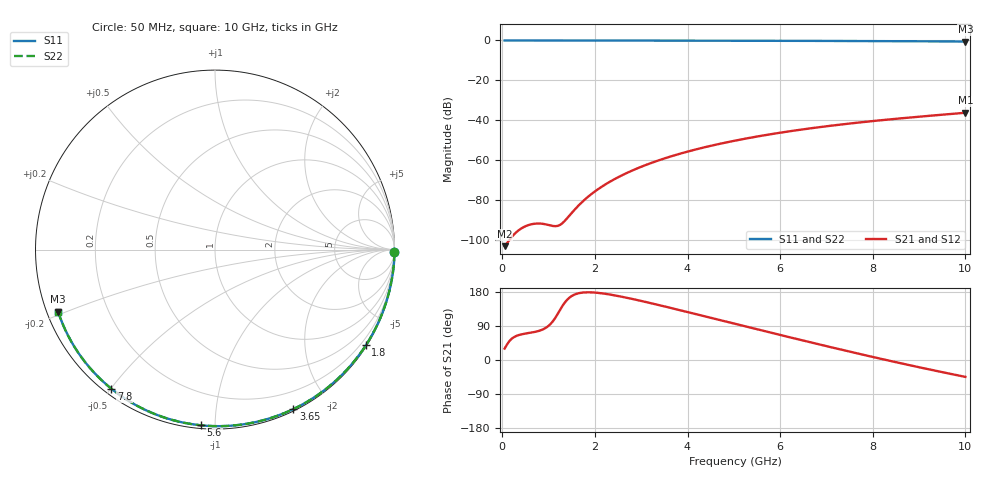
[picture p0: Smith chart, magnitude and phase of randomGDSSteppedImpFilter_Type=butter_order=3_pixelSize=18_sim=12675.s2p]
! freq	dB(S11)	phase(S11)	dB(S12)	phase(S12)
!  dB(S21)	phase(S21)	dB(S22)	phase(S22)
!S-par simulation data
#  GHz  S  DB  R 50
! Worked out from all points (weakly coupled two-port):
!   200 points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, 50 MHz to 10 GHz, reference 50 ohm
!   highest |S21| = -36.23 dB at 10 GHz (marker M1); lowest = -103.1 dB at 50 MHz (marker M2)
!   lowest |S11| = -0.5 dB at 10 GHz (marker M3), VSWR 32.32, Z = 1.6 - j9.5 ohm
!   |S11| at or under -10 dB: nowhere
!   |S22| runs from -0.5 to 0.0 dB; largest |S21 - S12| = 0
!   S11 on the Smith chart (normalised r, x): 50 MHz: open; 1.8 GHz: 0.03, -3.44; 3.65 GHz: 0.02, -1.60; 5.6 GHz: 0.02, -0.92; 7.8 GHz: 0.02, -0.50; 10 GHz: 0.03, -0.19
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0.05  -0.00 -0.9  -103.08 30.1  -103.08 30.1  -0.00 -0.9
0.45  -0.01 -8.2  -93.67 68.7  -93.67 68.7  -0.01 -8.2
0.85  -0.02 -15.5  -91.81 79.4  -91.81 79.4  -0.02 -15.5
1.3  -0.03 -23.5  -91.51 142.9  -91.51 142.9  -0.03 -23.5
1.75  -0.04 -31.5  -80.39 178.1  -80.39 178.1  -0.04 -31.5
1.8  -0.04 -32.4  -79.35 178.5  -79.35 178.5  -0.04 -32.4
1.95  -0.04 -35.0  -76.51 178.3  -76.51 178.3  -0.04 -35.0
2.1  -0.05 -37.6  -74.01 176.7  -74.01 176.7  -0.05 -37.6
2.3  -0.05 -41.1  -71.10 173.2  -71.10 173.2  -0.05 -41.1
2.5  -0.06 -44.5  -68.55 168.9  -68.55 168.9  -0.06 -44.5
2.9  -0.07 -51.4  -64.24 158.6  -64.24 158.6  -0.07 -51.4
3.4  -0.08 -59.7  -59.89 144.4  -59.89 144.4  -0.08 -59.7
3.65  -0.09 -63.9  -58.03 137.0  -58.03 137.0  -0.09 -63.9
4.3  -0.11 -74.4  -53.91 117.5  -53.91 117.5  -0.11 -74.4
5.05  -0.13 -86.1  -50.09 94.7  -50.09 94.7  -0.13 -86.1
5.6  -0.16 -94.5  -47.74 78.1  -47.74 78.1  -0.16 -94.5
6.15  -0.18 -102.7  -45.70 61.6  -45.70 61.6  -0.18 -102.7
6.7  -0.22 -110.8  -43.89 45.4  -43.89 45.4  -0.22 -110.8
7.8  -0.30 -126.7  -40.87 13.6  -40.87 13.6  -0.30 -126.7
8.35  -0.35 -134.5  -39.59 -1.7  -39.59 -1.7  -0.35 -134.5
9.2  -0.44 -146.7  -37.80 -24.4  -37.80 -24.4  -0.44 -146.7
10  -0.54 -158.5  -36.23 -44.6  -36.23 -44.6  -0.54 -158.5
